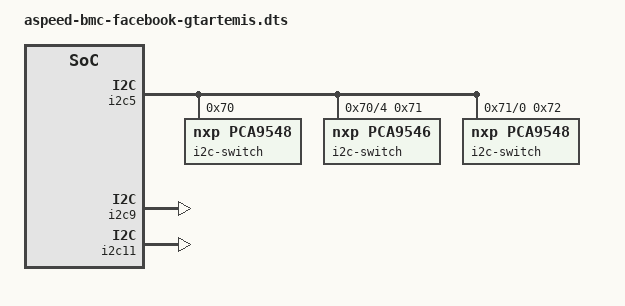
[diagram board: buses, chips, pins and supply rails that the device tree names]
// SPDX-License-Identifier: GPL-2.0-or-later
// Copyright (c) 2020 Facebook Inc.

/dts-v1/;

#include "aspeed-bmc-facebook-inspirationpoint.dts"

/ {
	aliases {
		i2c68 = &imux68;
		i2c69 = &imux69;
		i2c70 = &imux70;
		i2c71 = &imux71;
		i2c72 = &imux72;
		i2c73 = &imux73;
		i2c74 = &imux74;
		i2c75 = &imux75;
		i2c76 = &imux76;
		i2c77 = &imux77;
		i2c78 = &imux78;
	};
};

&fitro {
	reg = <0x1A0000 0x3E60000>;
};

&flash0 {
	reg = <0x0 0x8000000>;
};

&fit {
	reg = <0x1A0000 0x3E60000>;
};

&data0 {
	reg = <0x6000000 0x2000000>;
};

&i2c5 {
	status = "okay";
	i2c-switch@70 {
		compatible = "nxp,pca9548";
		#address-cells = <1>;
		#size-cells = <0>;
		reg = <0x70>;
		imux28: i2c@0 {
			#address-cells = <1>;
			#size-cells = <0>;
			reg = <0>;
		};
		imux29: i2c@1 {
			#address-cells = <1>;
			#size-cells = <0>;
			reg = <1>;
		};
		imux30: i2c@2 {
			#address-cells = <1>;
			#size-cells = <0>;
			reg = <2>;
		};
		imux31: i2c@3 {
			#address-cells = <1>;
			#size-cells = <0>;
			reg = <3>;
		};
		imux32: i2c@4 {
			#address-cells = <1>;
			#size-cells = <0>;
			reg = <4>;
			status = "okay";
			i2c-switch@71 {
				compatible = "nxp,pca9546";
				#address-cells = <1>;
				#size-cells = <0>;
				reg = <0x71>;
				imux68: i2c@0 {
					#addreses-cells = <1>;
					#size-cells = <0>;
					reg = <0>;
					status = "okay";
					i2c-switch@72 {
						compatible = "nxp,pca9548";
						#address-cells = <1>;
						#size-cells = <0>;
						reg = <0x72>;
						imux71: i2c@0 {
							#address-cells = <1>;
							#size-cells = <0>;
							reg = <0>;
						};
						imux72: i2c@1 {
							#address-cells = <1>;
							#size-cells = <0>;
							reg = <1>;
						};
						imux73: i2c@2 {
							#address-cells = <1>;
							#size-cells = <0>;
							reg = <2>;
						};
						imux74: i2c@3 {
							#address-cells = <1>;
							#size-cells = <0>;
							reg = <3>;
						};
						imux75: i2c@4 {
							#address-cells = <1>;
							#size-cells = <0>;
							reg = <4>;
						};
						imux76: i2c@5 {
							#address-cells = <1>;
							#size-cells = <0>;
							reg = <5>;
						};
						imux77: i2c@6 {
							#address-cells = <1>;
							#size-cells = <0>;
							reg = <6>;
						};
						imux78: i2c@7 {
							#address-cells = <1>;
							#size-cells = <0>;
							reg = <7>;
						};
					};				
				};
				imux69: i2c@1 {
					#address-cells = <1>;
					#size-cells = <0>;
					reg = <1>;	
				};
				imux70: i2c@2 {
					#address-cells = <1>;
					#size-cells = <0>;
					reg = <2>;		
				};
			};
		};
		imux33: i2c@5 {
			#address-cells = <1>;
			#size-cells = <0>;
			reg = <5>;
		};
		imux34: i2c@6 {
			#address-cells = <1>;
			#size-cells = <0>;
			reg = <6>;
		};
		imux35: i2c@7 {
			#address-cells = <1>;
			#size-cells = <0>;
			reg = <7>;
		};
	};
};

&i2c9 {
	status = "okay";
	multi-master;
	bus-frequency = <400000>;
	aspeed,hw-timeout-ms = <1000>;
};

&i2c11 {
	status = "okay";
	aspeed,hw-timeout-ms = <1000>;
	base-clock-divisor = <6>;
	tck-high = <8>;
	tck-low = <6>;
};

